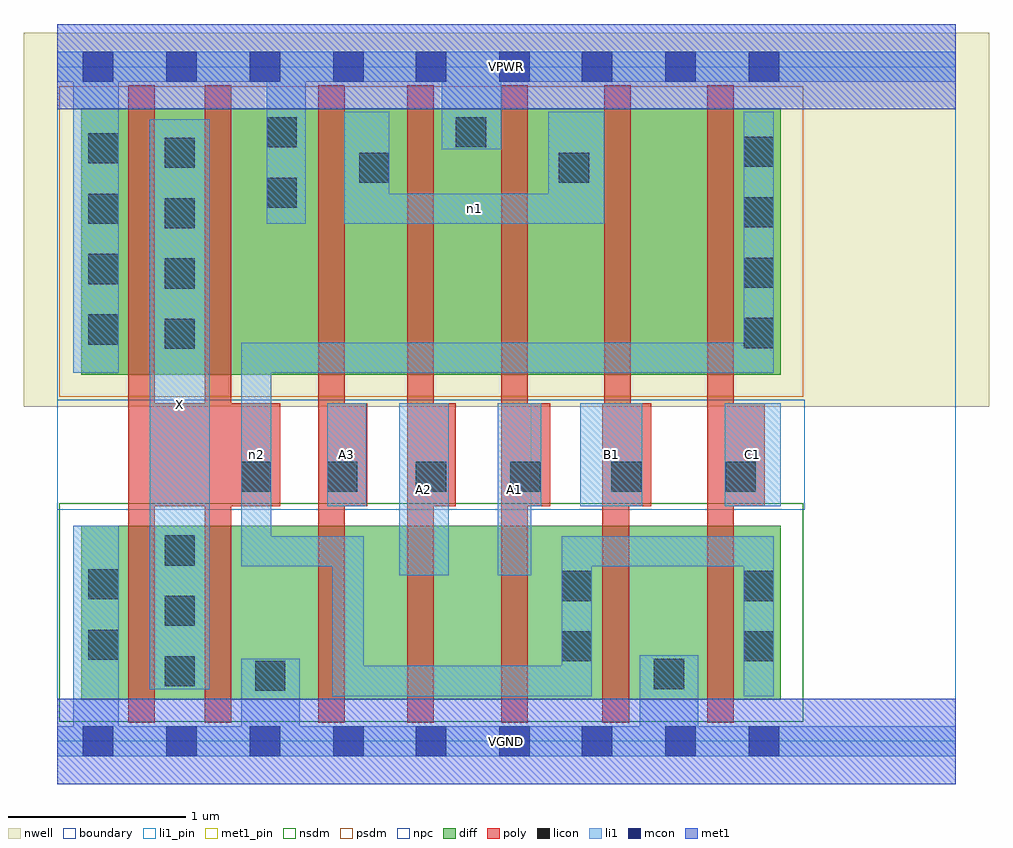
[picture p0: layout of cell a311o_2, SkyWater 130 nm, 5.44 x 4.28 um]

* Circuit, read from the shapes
.subckt a311o_2 A1 A2 A3 B1 C1 VGND VPWR X n1 n2
XM1 X n2 VGND VSUBS sky130_fd_pr__nfet_01v8 w=0.98 l=0.15 m=2
XM2 n3 A3 VGND VSUBS sky130_fd_pr__nfet_01v8 w=0.98 l=0.15
XM3 n4 A2 n3 VSUBS sky130_fd_pr__nfet_01v8 w=0.98 l=0.15
XM4 n2 A1 n4 VSUBS sky130_fd_pr__nfet_01v8 w=0.98 l=0.15
XM5 VGND B1 n2 VSUBS sky130_fd_pr__nfet_01v8 w=0.98 l=0.15
XM6 n2 C1 VGND VSUBS sky130_fd_pr__nfet_01v8 w=0.98 l=0.15
XM7 X n2 VPWR n5 sky130_fd_pr__pfet_01v8 w=1.5 l=0.15 m=2
XM8 n1 A3 VPWR n5 sky130_fd_pr__pfet_01v8 w=1.5 l=0.15
XM9 VPWR A2 n1 n5 sky130_fd_pr__pfet_01v8 w=1.5 l=0.15
XM10 n1 A1 VPWR n5 sky130_fd_pr__pfet_01v8 w=1.5 l=0.15
XM11 n6 B1 n1 n5 sky130_fd_pr__pfet_01v8 w=1.5 l=0.15
XM12 n2 C1 n6 n5 sky130_fd_pr__pfet_01v8 w=1.5 l=0.15
.ends

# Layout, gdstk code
import gdstk
lib = gdstk.Library(unit=1e-6, precision=1e-09)
def R(c, l, rs):  # rectangles x0, y0, x1, y1
    for r in rs: c.add(gdstk.rectangle(r[:2], r[2:], *l))
def A(c, l, x, y, w, h, nx, ny, dx, dy):  # array of equal rectangles
    R(c, l, [(x+i*dx, y+j*dy, x+i*dx+w, y+j*dy+h) for i in range(nx) for j in range(ny)])
nwell = (64, 20)
diff = (65, 20)
poly = (66, 20)
licon = (66, 44)
li1_pin = (67, 16)
li1 = (67, 20)
mcon = (67, 44)
met1_pin = (68, 16)
met1 = (68, 20)
nsdm = (93, 44)
psdm = (94, 20)
npc = (95, 20)
boundary = (235, 4)

a311o_2 = lib.new_cell('a311o_2')
R(a311o_2, nwell, [(-0.19,1.885,5.25,3.99), (0,1.885,5.06,3.99)])
R(a311o_2, diff, [(0.135,0.235,4.075,1.215), (0.135,2.065,4.075,3.565)])
R(a311o_2, poly, [(0.4,0.105,0.55,3.695), (0.83,0.105,0.98,3.695), (1.47,0.105,1.62,3.695), (1.97,0.105,2.12,3.695), (2.5,0.105,2.65,3.695), (3.07,0.105,3.22,1.905), (3.66,0.105,3.81,3.695), (0.4,1.325,1.255,1.905), (1.47,1.325,1.745,1.905), (1.97,1.325,2.245,1.905), (2.5,1.325,2.775,1.905), (3.07,1.325,3.345,1.905), (3.08,1.325,3.23,3.695), (3.66,1.325,3.985,1.905)])
A(a311o_2, licon, 0.605, 0.31, 0.17, 0.17, 1, 3, 0, 0.34)
A(a311o_2, licon, 0.605, 2.21, 0.17, 0.17, 1, 4, 0, 0.34)
A(a311o_2, licon, 3.865, 2.215, 0.17, 0.17, 1, 4, 0, 0.34)
A(a311o_2, licon, 0.175, 2.235, 0.17, 0.17, 1, 4, 0, 0.34)
R(a311o_2, licon, [(1.115,0.285,1.285,0.455), (3.36,0.295,3.53,0.465), (2.84,0.45,3.01,0.62), (3.865,0.45,4.035,0.62), (0.175,0.46,0.345,0.63), (2.84,0.79,3.01,0.96), (3.865,0.79,4.035,0.96), (0.175,0.8,0.345,0.97), (1.035,1.405,1.205,1.575), (1.52,1.405,1.69,1.575), (2.02,1.405,2.19,1.575), (2.55,1.405,2.72,1.575), (3.12,1.405,3.29,1.575), (3.765,1.405,3.935,1.575), (1.18,3.005,1.35,3.175), (1.7,3.145,1.87,3.315), (2.825,3.145,2.995,3.315), (1.18,3.345,1.35,3.515), (2.245,3.345,2.415,3.515)])
R(a311o_2, li1_pin, [(0.52,0.295,0.86,3.505), (1.925,0.935,2.205,1.905), (2.48,0.935,2.67,1.905), (1.52,1.325,1.74,1.905), (2.945,1.325,3.295,1.905), (3.76,1.325,4.075,1.905)])
R(a311o_2, li1, [(0,-0.085,5.06,0.085), (0.09,-0.085,0.345,1.215), (1.035,-0.085,1.365,0.465), (3.28,-0.085,3.61,0.485), (1.55,0.255,3.01,0.425), (1.55,0.255,1.725,1.155), (2.84,0.255,3.01,1.155), (3.865,0.255,4.035,1.155), (0.52,0.295,0.86,3.505), (1.925,0.935,2.205,1.905), (2.48,0.935,2.67,1.905), (1.035,0.985,1.205,2.245), (1.035,0.985,1.725,1.155), (2.84,0.985,4.035,1.155), (1.52,1.325,1.74,1.905), (2.48,1.325,2.725,1.905), (2.945,1.325,3.295,1.905), (3.76,1.325,4.075,1.905), (0.09,2.075,0.345,3.885), (1.035,2.075,4.035,2.245), (3.865,2.075,4.035,3.545), (1.18,2.915,1.4,3.885), (1.615,2.915,3.08,3.085), (1.615,2.915,1.87,3.545), (2.765,2.915,3.08,3.545), (2.165,3.335,2.5,3.885), (0,3.715,5.06,3.885)])
A(a311o_2, mcon, 0.145, -0.085, 0.17, 0.17, 4, 2, 0.47, 3.8)
A(a311o_2, mcon, 2.955, -0.085, 0.17, 0.17, 3, 2, 0.47, 3.8)
R(a311o_2, mcon, [(2.02,-0.085,2.19,0.085), (2.49,-0.085,2.66,0.085), (2.02,3.715,2.19,3.885), (2.49,3.715,2.66,3.885)])
R(a311o_2, met1_pin, [(0,-0.24,5.06,0.24), (0,3.56,5.06,4.04)])
R(a311o_2, met1, [(0,-0.24,5.06,0.24), (0,3.56,5.06,4.04)])
R(a311o_2, nsdm, [(0.01,0.11,4.2,1.34)])
R(a311o_2, psdm, [(0.01,1.94,4.2,3.69)])
R(a311o_2, npc, [(0,1.305,4.21,1.925)])
R(a311o_2, boundary, [(0,0,5.06,3.8)])
a311o_2.add(gdstk.Label('A1', (2.575,1.42), layer=67, texttype=5))
a311o_2.add(gdstk.Label('A2', (2.065,1.42), layer=67, texttype=5))
a311o_2.add(gdstk.Label('A3', (1.63,1.615), layer=67, texttype=5))
a311o_2.add(gdstk.Label('B1', (3.12,1.615), layer=67, texttype=5))
a311o_2.add(gdstk.Label('C1', (3.917,1.615), layer=67, texttype=5))
a311o_2.add(gdstk.Label('X', (0.69,1.9), layer=67, texttype=5))
a311o_2.add(gdstk.Label('n1', (2.347,3), layer=67, texttype=5))
a311o_2.add(gdstk.Label('n2', (1.12,1.615), layer=67, texttype=5))
a311o_2.add(gdstk.Label('VPWR', (2.53,3.8), layer=68, texttype=5))
a311o_2.add(gdstk.Label('VGND', (2.53,0), layer=68, texttype=5))
a311o_2.add(gdstk.Label('A1', (2.575,1.42), layer=67, texttype=16))
a311o_2.add(gdstk.Label('A2', (2.065,1.42), layer=67, texttype=16))
a311o_2.add(gdstk.Label('A3', (1.63,1.615), layer=67, texttype=16))
a311o_2.add(gdstk.Label('B1', (3.12,1.615), layer=67, texttype=16))
a311o_2.add(gdstk.Label('C1', (3.917,1.615), layer=67, texttype=16))
a311o_2.add(gdstk.Label('X', (0.69,1.9), layer=67, texttype=16))
a311o_2.add(gdstk.Label('VPWR', (2.53,3.8), layer=68, texttype=16))
a311o_2.add(gdstk.Label('VGND', (2.53,0), layer=68, texttype=16))

lib.write_gds('a311o_2.gds')
